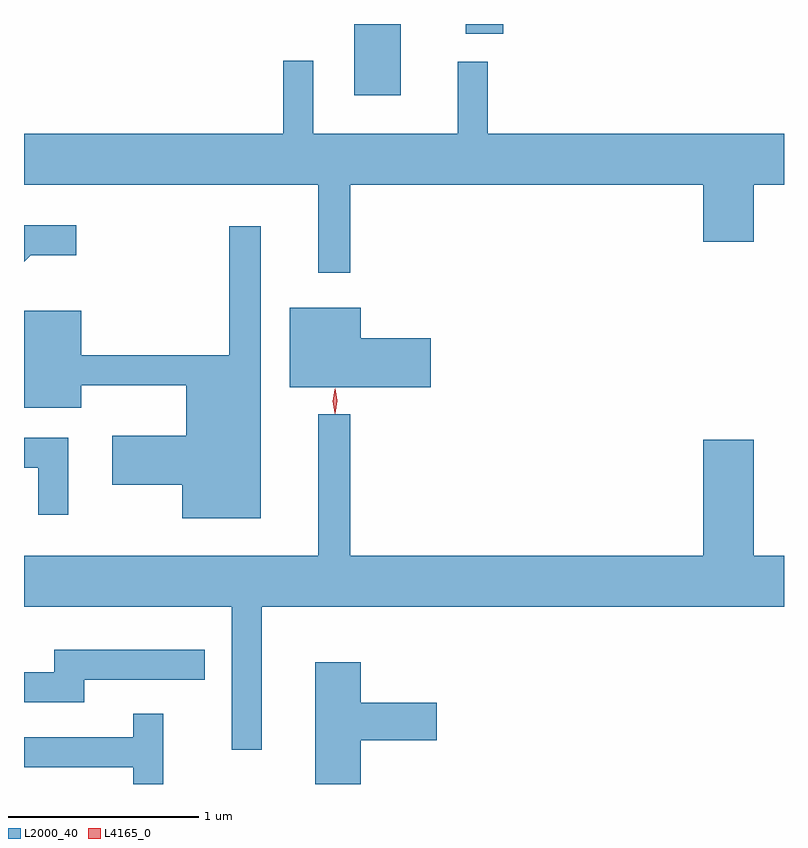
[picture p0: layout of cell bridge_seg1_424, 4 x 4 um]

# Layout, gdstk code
import gdstk
lib = gdstk.Library(unit=1e-6, precision=1e-09)
def R(c, l, rs):  # rectangles x0, y0, x1, y1
    for r in rs: c.add(gdstk.rectangle(r[:2], r[2:], *l))
def P(c, l, *ps):  # polygons
    for p in ps: c.add(gdstk.Polygon(p, *l))
L2000_40 = (2000, 40)
L4165_0 = (4165, 0)

bridge_seg1_424 = lib.new_cell('bridge_seg1_424')
R(bridge_seg1_424, L2000_40, [(233.221,846.766,233.464,847.142), (233.806,847.091,234.004,847.142)])
P(bridge_seg1_424, L2000_40, [(233.199,846.296),(235.056,846.296),(235.056,845.996),(235.324,845.996),(235.324,846.296),(235.482,846.296),(235.482,846.564),(233.924,846.564),(233.924,846.943),(233.766,846.943),(233.766,846.564),(233.004,846.564),(233.004,846.948),(232.846,846.948),(232.846,846.564),(231.482,846.564),(231.482,846.296),(233.031,846.296),(233.031,845.833),(233.199,845.833)],
  [(231.517,845.926),(231.758,845.926),(231.758,846.084),(231.482,846.084),(231.482,845.891)],
  [(232.729,846.078),(232.561,846.078),(232.561,845.399),(231.784,845.399),(231.784,845.634),(231.482,845.634),(231.482,845.121),(231.784,845.121),(231.784,845.241),(232.336,845.241),(232.336,844.974),(231.946,844.974),(231.946,844.716),(232.316,844.716),(232.316,844.541),(232.729,844.541)],
  [(233.624,845.489),(233.254,845.489),(233.254,845.649),(232.881,845.649),(232.881,845.231),(233.624,845.231)],
  [(232.734,844.076),(235.482,844.076),(235.482,844.344),(235.324,844.344),(235.324,844.954),(235.056,844.954),(235.056,844.344),(233.199,844.344),(233.199,845.088),(233.031,845.088),(233.031,844.344),(231.482,844.344),(231.482,844.076),(232.576,844.076),(232.576,843.323),(232.734,843.323)],
  [(231.714,844.964),(231.482,844.964),(231.482,844.806),(231.556,844.806),(231.556,844.558),(231.714,844.558)],
  [(231.799,843.691),(232.433,843.691),(232.433,843.849),(231.641,843.849),(231.641,843.729),(231.482,843.729),(231.482,843.571),(231.799,843.571)],
  [(233.254,843.371),(233.654,843.371),(233.654,843.569),(233.254,843.569),(233.254,843.784),(233.016,843.784),(233.016,843.142),(233.254,843.142)],
  [(232.214,843.513),(232.056,843.513),(232.056,843.389),(231.482,843.389),(231.482,843.231),(232.056,843.231),(232.056,843.142),(232.214,843.142)])
P(bridge_seg1_424, L4165_0, [(233.118,845.093),(233.117,845.094),(233.108,845.156),(233.117,845.22),(233.118,845.22),(233.118,845.22),(233.128,845.156),(233.118,845.094)],
  [(233.12,845.09),(233.11,845.158),(233.119,845.226),(233.12,845.226),(233.12,845.226),(233.13,845.158),(233.121,845.09),(233.121,845.09)])

lib.write_gds('bridge_seg1_424.gds')
